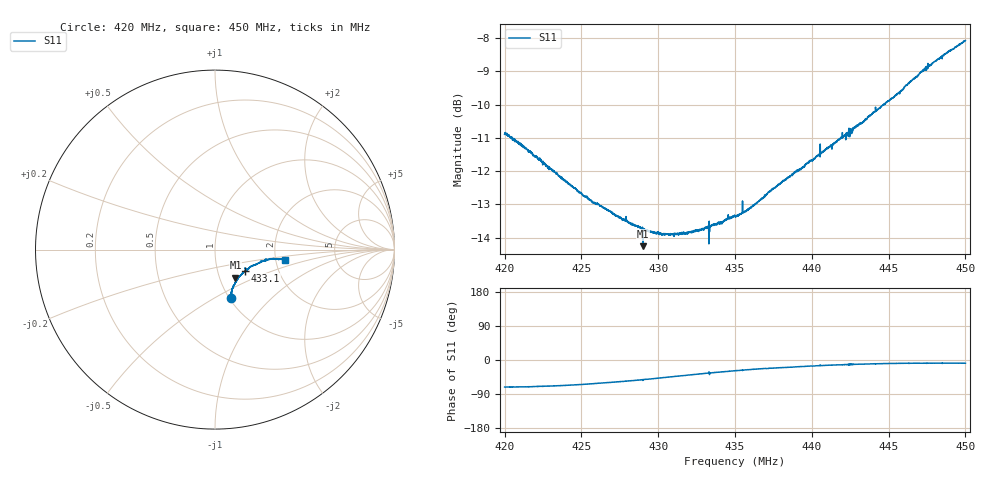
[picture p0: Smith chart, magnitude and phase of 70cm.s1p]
! Calibrated averaged scanner-service zoom
# Hz S RI R 50
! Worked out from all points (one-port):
!   3001 points, 420 MHz to 450 MHz, reference 50 ohm
!   lowest |S11| = -14.3 dB at 429 MHz (marker M1), VSWR 1.48, Z = 59.5 - j19.4 ohm
!   |S11| at or under -10 dB: start of sweep to 444.7 MHz
!   S11 on the Smith chart (normalised r, x): 420 MHz: 1.02, -0.60; 433.1 MHz: 1.36, -0.34; 450 MHz: 2.25, -0.31
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4.2e8  0.0916 -0.2703
4.2018e8  0.0913 -0.2693
4.2116e8  0.0889 -0.2592
4.2375e8  0.094 -0.2267
4.2579e8  0.1045 -0.1991
4.2616e8  0.1082 -0.1959
4.275e8  0.116 -0.1802
4.29e8  0.1141 -0.1567
4.3034e8  0.1396 -0.1467
4.3125e8  0.149 -0.1373
4.3184e8  0.1549 -0.1317
4.3308e8  0.1689 -0.1194
4.3412e8  0.1794 -0.1105
4.3454e8  0.1848 -0.1067
4.35e8  0.1896 -0.1018
4.3529e8  0.1922 -0.099
4.3597e8  0.2002 -0.0943
4.3729e8  0.2179 -0.0863
4.3875e8  0.2356 -0.0791
4.4041e8  0.2565 -0.069
4.425e8  0.283 -0.0595
4.428e8  0.2866 -0.058
4.4334e8  0.2927 -0.0565
4.4522e8  0.319 -0.0514
4.4584e8  0.3274 -0.0504
4.4625e8  0.3361 -0.0513
4.4771e8  0.3587 -0.0529
4.5e8  0.3905 -0.0583
